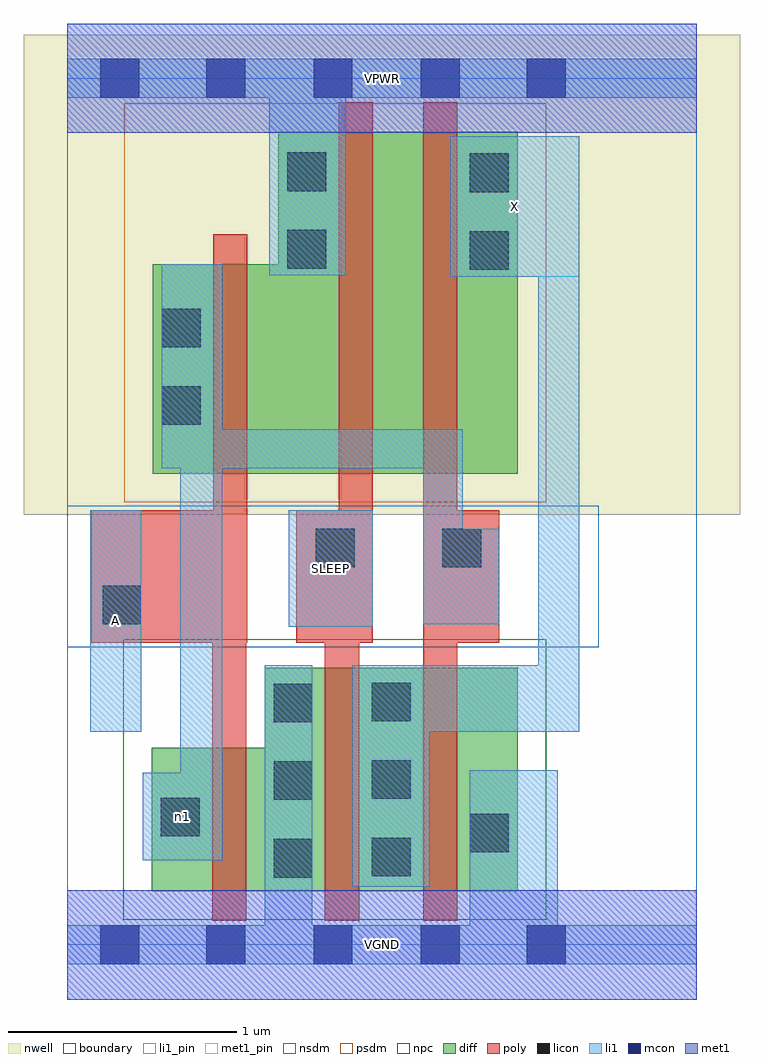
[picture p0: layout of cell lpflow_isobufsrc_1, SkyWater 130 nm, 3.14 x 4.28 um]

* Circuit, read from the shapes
.subckt lpflow_isobufsrc_1 A SLEEP VGND VPWR X n1
XM1 VGND A n1 VSUBS sky130_fd_pr__nfet_01v8 w=0.63 l=0.15
XM2 X SLEEP VGND VSUBS sky130_fd_pr__nfet_01v8 w=0.98 l=0.15
XM3 VGND n1 X VSUBS sky130_fd_pr__nfet_01v8 w=0.98 l=0.15
XM4 VPWR A n1 n2 sky130_fd_pr__pfet_01v8 w=0.92 l=0.15
XM5 n3 SLEEP VPWR n2 sky130_fd_pr__pfet_01v8 w=1.5 l=0.15
XM6 X n1 n3 n2 sky130_fd_pr__pfet_01v8 w=1.5 l=0.15
.ends

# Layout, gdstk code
import gdstk
lib = gdstk.Library(unit=1e-6, precision=1e-09)
def R(c, l, rs):  # rectangles x0, y0, x1, y1
    for r in rs: c.add(gdstk.rectangle(r[:2], r[2:], *l))
def A(c, l, x, y, w, h, nx, ny, dx, dy):  # array of equal rectangles
    R(c, l, [(x+i*dx, y+j*dy, x+i*dx+w, y+j*dy+h) for i in range(nx) for j in range(ny)])
nwell = (64, 20)
diff = (65, 20)
poly = (66, 20)
licon = (66, 44)
li1_pin = (67, 16)
li1 = (67, 20)
mcon = (67, 44)
met1_pin = (68, 16)
met1 = (68, 20)
nsdm = (93, 44)
psdm = (94, 20)
npc = (95, 20)
boundary = (235, 4)

lpflow_isobufsrc_1 = lib.new_cell('lpflow_isobufsrc_1')
R(lpflow_isobufsrc_1, nwell, [(-0.19,1.885,2.95,3.99), (0,1.885,2.76,3.99)])
R(lpflow_isobufsrc_1, diff, [(0.37,0.235,1.975,0.865), (0.865,0.235,1.975,1.215), (0.375,2.065,1.975,2.985), (0.925,2.065,1.975,3.565)])
R(lpflow_isobufsrc_1, poly, [(0.635,0.105,0.785,1.905), (1.13,0.105,1.28,1.905), (1.56,0.105,1.71,3.695), (0.105,1.325,0.79,1.905), (0.64,1.325,0.79,3.115), (1.005,1.325,1.34,1.905), (1.19,1.325,1.34,3.695), (1.56,1.325,1.895,1.905)])
A(lpflow_isobufsrc_1, licon, 0.905, 0.295, 0.17, 0.17, 1, 3, 0, 0.34)
A(lpflow_isobufsrc_1, licon, 1.335, 0.3, 0.17, 0.17, 1, 3, 0, 0.34)
R(lpflow_isobufsrc_1, licon, [(1.765,0.405,1.935,0.575), (0.41,0.475,0.58,0.645), (0.155,1.405,0.325,1.575), (1.09,1.655,1.26,1.825), (1.645,1.655,1.815,1.825), (0.415,2.28,0.585,2.45), (0.415,2.62,0.585,2.79), (1.765,2.96,1.935,3.13), (0.965,2.965,1.135,3.135), (1.765,3.3,1.935,3.47), (0.965,3.305,1.135,3.475)])
R(lpflow_isobufsrc_1, li1_pin, [(0.1,0.935,0.325,1.905), (0.97,1.395,1.34,1.905), (1.68,2.93,2.245,3.545)])
R(lpflow_isobufsrc_1, li1, [(0,-0.085,2.76,0.085), (0.865,-0.085,1.075,1.225), (1.765,-0.085,2.15,0.765), (1.25,0.255,1.59,1.225), (0.33,0.37,0.68,0.755), (0.495,0.37,0.68,2.985), (0.1,0.935,0.325,1.905), (1.25,0.935,2.245,1.225), (2.065,0.935,2.245,3.545), (0.97,1.395,1.34,1.905), (1.56,1.405,1.735,2.26), (1.56,1.405,1.895,1.825), (0.415,2.09,1.735,2.26), (0.415,2.09,0.68,2.985), (1.68,2.93,2.245,3.545), (0.885,2.935,1.22,3.885), (0,3.715,2.76,3.885)])
A(lpflow_isobufsrc_1, mcon, 0.61, -0.085, 0.17, 0.17, 3, 2, 0.47, 3.8)
R(lpflow_isobufsrc_1, mcon, [(0.145,-0.085,0.315,0.085), (2.015,-0.085,2.185,0.085), (0.145,3.715,0.315,3.885), (2.015,3.715,2.185,3.885)])
R(lpflow_isobufsrc_1, met1_pin, [(0,-0.24,2.76,0.24), (0,3.56,2.76,4.04)])
R(lpflow_isobufsrc_1, met1, [(0,-0.24,2.76,0.24), (0,3.56,2.76,4.04)])
R(lpflow_isobufsrc_1, nsdm, [(0.245,0.11,2.1,1.34)])
R(lpflow_isobufsrc_1, psdm, [(0.25,1.94,2.1,3.69)])
R(lpflow_isobufsrc_1, npc, [(0,1.305,2.33,1.925)])
R(lpflow_isobufsrc_1, boundary, [(0,0,2.76,3.8)])
lpflow_isobufsrc_1.add(gdstk.Label('A', (0.212,1.42), layer=67, texttype=5))
lpflow_isobufsrc_1.add(gdstk.Label('SLEEP', (1.155,1.65), layer=67, texttype=5))
lpflow_isobufsrc_1.add(gdstk.Label('X', (1.962,3.237), layer=67, texttype=5))
lpflow_isobufsrc_1.add(gdstk.Label('n1', (0.505,0.562), layer=67, texttype=5))
lpflow_isobufsrc_1.add(gdstk.Label('VPWR', (1.38,3.8), layer=68, texttype=5))
lpflow_isobufsrc_1.add(gdstk.Label('VGND', (1.38,0), layer=68, texttype=5))
lpflow_isobufsrc_1.add(gdstk.Label('A', (0.212,1.42), layer=67, texttype=16))
lpflow_isobufsrc_1.add(gdstk.Label('SLEEP', (1.155,1.65), layer=67, texttype=16))
lpflow_isobufsrc_1.add(gdstk.Label('X', (1.962,3.237), layer=67, texttype=16))
lpflow_isobufsrc_1.add(gdstk.Label('VPWR', (1.38,3.8), layer=68, texttype=16))
lpflow_isobufsrc_1.add(gdstk.Label('VGND', (1.38,0), layer=68, texttype=16))

lib.write_gds('lpflow_isobufsrc_1.gds')
